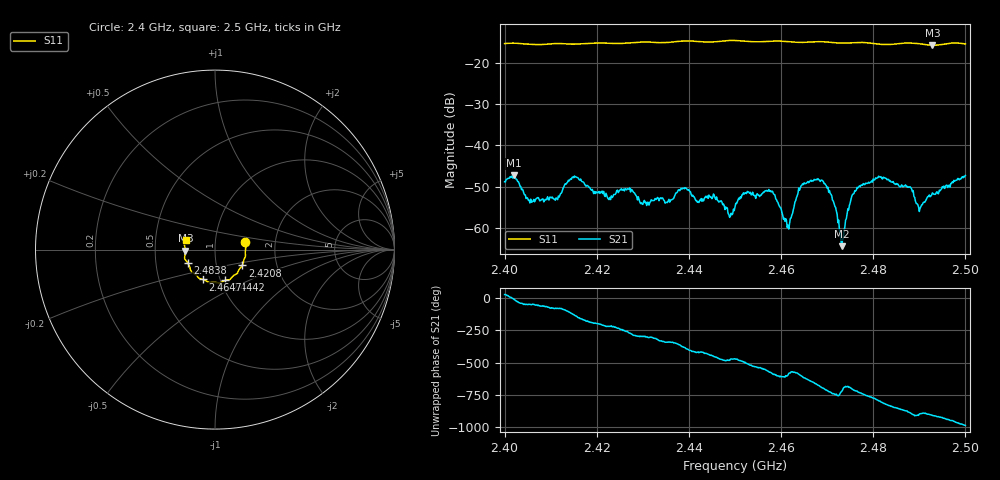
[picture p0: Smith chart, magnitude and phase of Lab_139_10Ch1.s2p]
# Hz S RI R 50
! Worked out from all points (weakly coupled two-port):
!   601 points, 2.4 GHz to 2.5 GHz, reference 50 ohm
!   highest |S21| = -47.25 dB at 2.402 GHz (marker M1); lowest = -64.5 dB at 2.4732 GHz (marker M2)
!   lowest |S11| = -15.6 dB at 2.4928 GHz (marker M3), VSWR 1.40, Z = 35.8 - j0.414 ohm
!   |S11| at or under -10 dB: start of sweep to end of sweep
!   S12 and S22 are empty: the file has one direction only
!   S11 on the Smith chart (normalised r, x): 2.4 GHz: 1.40, +0.12; 2.4208 GHz: 1.33, -0.24; 2.4442 GHz: 1.05, -0.37; 2.4647 GHz: 0.83, -0.29; 2.4838 GHz: 0.73, -0.11; 2.5 GHz: 0.71, +0.08
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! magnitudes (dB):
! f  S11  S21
! 2.4 GHz  -15.2  -48.8
! 2.402 GHz  -15.1  -47.2
! 2.406 GHz  -15.4  -53.7
! 2.4167 GHz  -15.3  -48.6
! 2.4208 GHz  -15.1  -51.3
! 2.4333 GHz  -15.0  -52.8
! 2.4442 GHz  -14.9  -52.9
! 2.449 GHz  -14.5  -57.2
! 2.45 GHz  -14.5  -55.0
! 2.4577 GHz  -14.6  -51.0
! 2.4617 GHz  -14.8  -60.3
! 2.4647 GHz  -14.9  -49.3
! 2.4667 GHz  -14.8  -48.7
! 2.4705 GHz  -14.9  -50.9
! 2.4732 GHz  -15.1  -64.5
! 2.4765 GHz  -15.0  -50.2
! 2.4833 GHz  -15.5  -48.3
! 2.4838 GHz  -15.4  -48.8
! 2.4882 GHz  -15.1  -50.3
! 2.4898 GHz  -15.2  -54.9
! 2.4928 GHz  -15.6  -51.5
! 2.5 GHz  -15.3  -47.3
